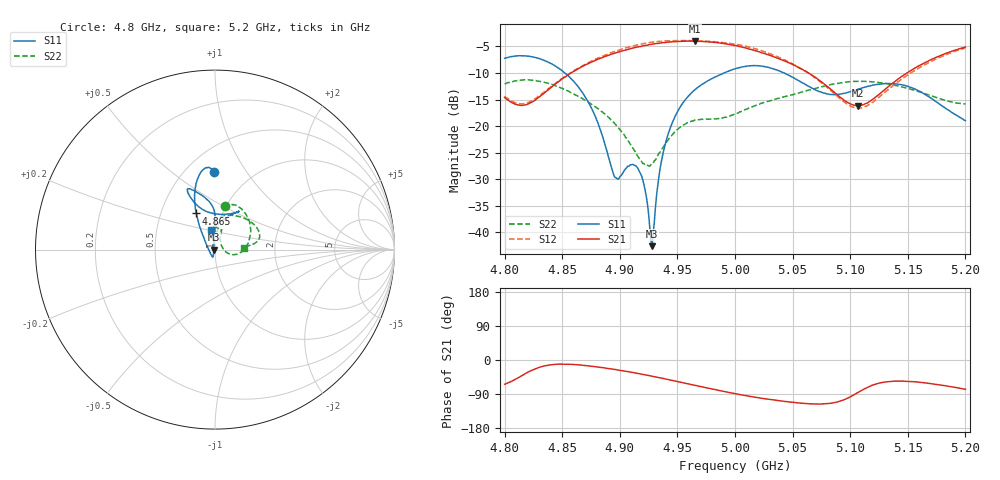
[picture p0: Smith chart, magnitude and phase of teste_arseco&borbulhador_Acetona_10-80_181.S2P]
! Network Analyzer HP8722D
! Hewlett-Packard
! Data name: Linha & Wilkinson
! Saver's name: Rodrigo Anjos
! Comments: Teste da utilização de aquisição
! continua pelo VNA HP8722D
! Time and date: 25/4/2025 16:46
!  Frequency  S11  S21  S12  S22
# HZ  S  MA R 50
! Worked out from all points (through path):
!   401 points, 4.8 GHz to 5.2 GHz, reference 50 ohm
!   highest |S21| = -3.96 dB at 4.965 GHz (marker M1); lowest = -16.2 dB at 5.107 GHz (marker M2)
!   lowest |S11| = -42.6 dB at 4.928 GHz (marker M3), VSWR 1.01, Z = 49.3 + j0.0543 ohm
!   |S11| at or under -10 dB: 4.852 GHz to 4.99 GHz (137.9 MHz wide, 2.8 % of centre); 5.043 GHz to end of sweep
!   |S22| runs from -27.5 to -11.3 dB; largest |S21 - S12| = 1.2
!   S11 on the Smith chart (normalised r, x): 4.8 GHz: 0.67, +0.72; 4.865 GHz: 0.75, +0.32; 5.2 GHz: 0.94, +0.21
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4.8e9  0.435 91.0  0.1858 -63.9  0.1907 69.6  0.2491 77.4
4.82e9  0.4551 97.3  0.1609 -32.5  0.1665 98.2  0.2734 62.0
4.845e9  0.3622 107.6  0.254 -11.4  0.2572 119.4  0.2383 34.7
4.865e9  0.2265 117.3  0.352 -12.9  0.3564 121.0  0.1889 11.2
4.867e9  0.211 118.5  0.3625 -13.6  0.3665 120.8  0.1835 8.8
4.88e9  0.1137 128.7  0.4213 -18.2  0.4314 118.5  0.1489 -4.9
4.896e9  0.03287 -169.4  0.4876 -25.0  0.5053 113.3  0.1047 -15.6
4.91e9  0.04337 -107.9  0.5372 -32.4  0.5626 107.3  0.06553 -13.4
4.917e9  0.03757 -104.3  0.5599 -36.0  0.5885 103.7  0.04932 -1.1
4.922e9  0.0249 -109.1  0.5744 -39.1  0.6014 100.9  0.04306 15.5
4.928e9  0.007431 175.8  0.5898 -42.7  0.6156 97.3  0.04471 40.3
4.934e9  0.03379 99.6  0.602 -46.6  0.6281 93.5  0.05574 57.4
4.939e9  0.06489 93.4  0.6122 -49.8  0.6341 90.2  0.06698 65.1
4.946e9  0.1104 90.2  0.6227 -54.2  0.6364 85.8  0.0839 69.7
4.965e9  0.2193 91.2  0.6338 -66.8  0.6349 73.6  0.1139 71.2
5e9  0.3465 109.3  0.5721 -89.0  0.5914 50.9  0.1297 88.7
5.03e9  0.3549 115.4  0.4641 -104.1  0.4813 33.9  0.1724 85.6
5.067e9  0.2275 105.6  0.3011 -115.8  0.2984 23.7  0.2224 57.3
5.107e9  0.223 64.7  0.1554 -85.4  0.1477 57.7  0.264 24.3
5.134e9  0.2517 57.8  0.2396 -56.6  0.2256 88.7  0.2481 12.5
5.169e9  0.187 70.4  0.4171 -61.9  0.4007 85.0  0.1952 6.9
5.2e9  0.1127 100.8  0.5539 -77.3  0.5428 70.3  0.1618 3.8
